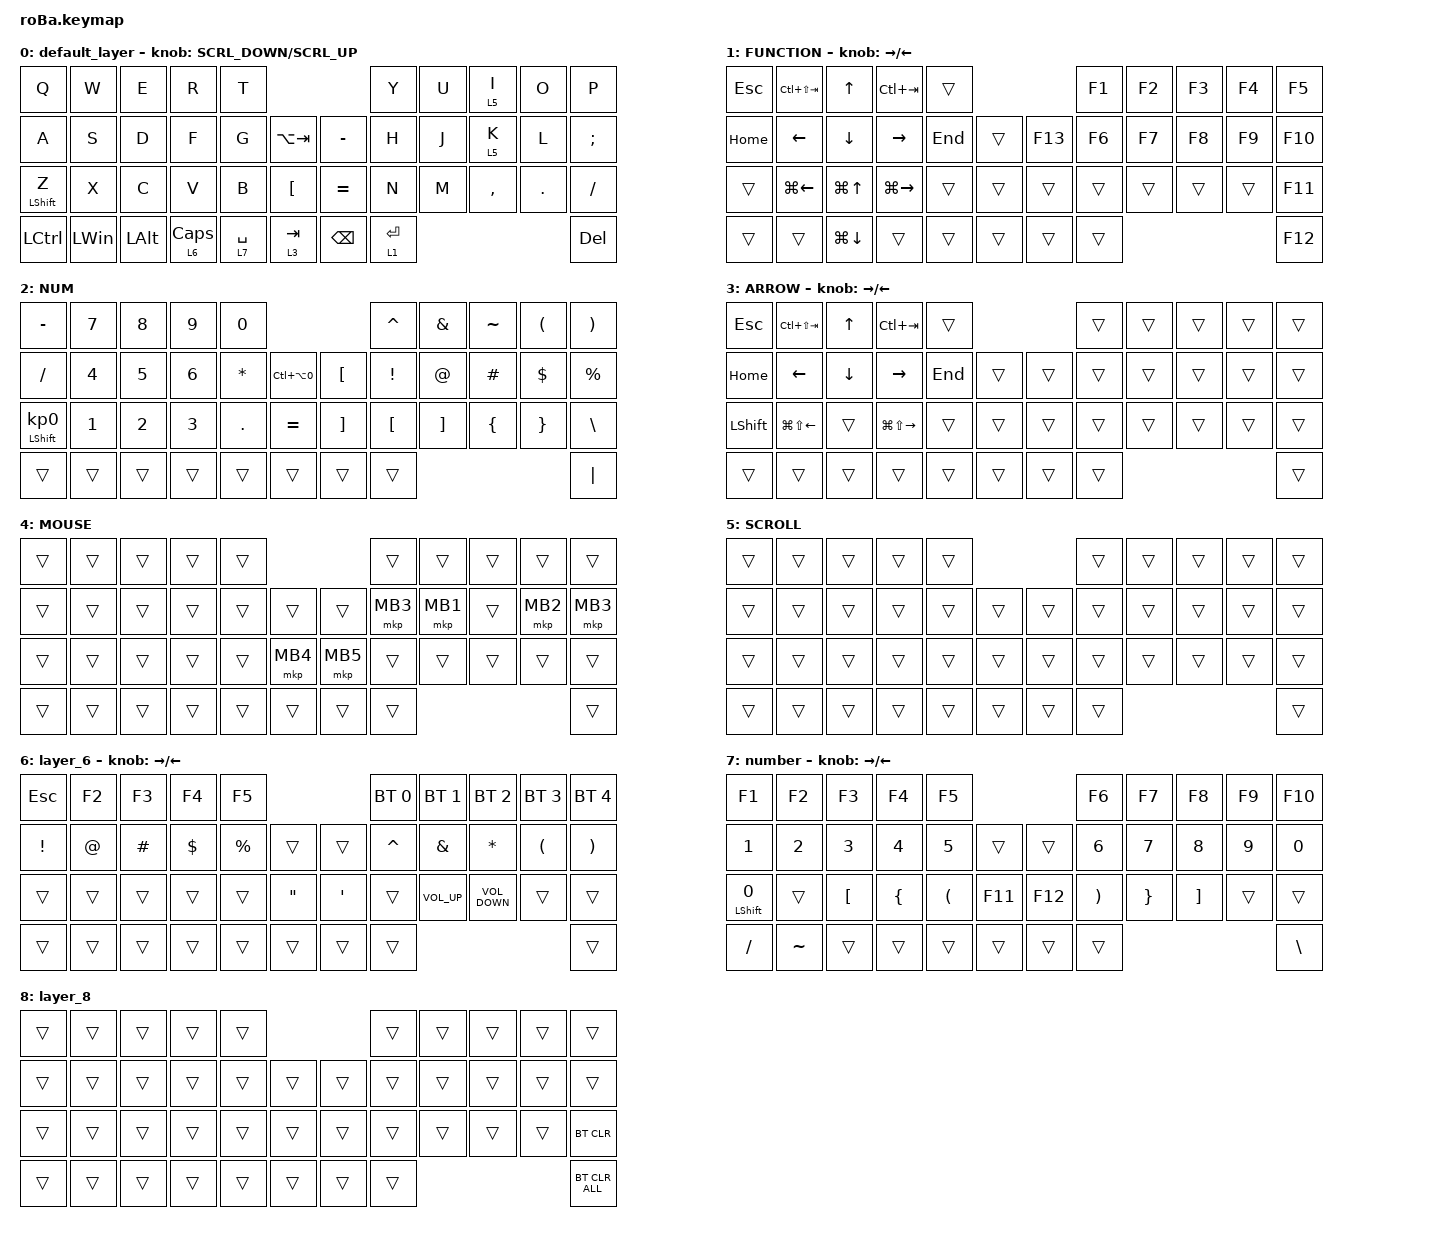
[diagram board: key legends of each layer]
#include <behaviors.dtsi>
#include <dt-bindings/zmk/bt.h>
#include <dt-bindings/zmk/keys.h>
#include <dt-bindings/zmk/pointing.h>


#define MOUSE 4
#define SCROLL 5
#define NUM 6
#define ZMK_POINTING_DEFAULT_SCRL_VAL 100

&mt {
    flavor = "balanced";
    quick-tap-ms = <0>;
};

/ {
    combos {
        compatible = "zmk,combos";

        tab {
            bindings = <&kp TAB>;
            key-positions = <11 12>;
        };

        shift_tab {
            bindings = <&kp LS(TAB)>;
            key-positions = <12 13>;
        };

        muhennkann {
            bindings = <&to_layer_0 INT_MUHENKAN>;
            key-positions = <11 10>;
        };

        double_quotation {
            bindings = <&kp DOUBLE_QUOTES>;
            key-positions = <20 21>;
        };

        eq {
            bindings = <&kp EQUAL>;
            key-positions = <24 25>;
        };

        lefr {
            bindings = <&kp LEFT_ALT>;
            key-positions = <35 36>;
        };

        left {
            bindings = <&kp LEFT_ARROW>;
            key-positions = <18 17>;
        };

        up {
            bindings = <&kp UP_ARROW>;
            key-positions = <6 7>;
        };

        right {
            bindings = <&kp RIGHT_ARROW>;
            key-positions = <20 19>;
        };

        down {
            bindings = <&kp DOWN_ARROW>;
            key-positions = <30 31>;
        };

        alr {
            bindings = <&kp LA(P)>;
            key-positions = <9 8>;
        };

        opening {
            bindings = <&pc_opening>;
            key-positions = <16 5>;
        };

        remote_combo {
            bindings = <&remote>;
            key-positions = <18 16>;
        };

        tadmin {
            bindings = <&tadmin>;
            key-positions = <28 30>;
        };

        layer-8 {
            bindings = <&lt 8 DELETE>;
            key-positions = <37 41>;
        };
    };

    macros {
        to_layer_0: to_layer_0 {
            compatible = "zmk,behavior-macro-one-param";
            #binding-cells = <1>;
            bindings = <&to 0 &macro_param_1to1 &kp MACRO_PLACEHOLDER>;
            label = "TO_LAYER_0";
        };

        remote: pass_remote {
            compatible = "zmk,behavior-macro";
            #binding-cells = <0>;
            bindings = <&kp LS(T) &kp E &kp R &kp A &kp L &kp A &kp B &kp N9 &kp N2>;
            label = "PASS_REMOTE";
        };

        pc_opening: pc {
            compatible = "zmk,behavior-macro";
            #binding-cells = <0>;
            bindings = <&kp LS(Q) &kp LS(P) &kp Q &kp P &kp N9 &kp N2>;
            label = "PC";
        };

        tadmin: tadmin {
            compatible = "zmk,behavior-macro";
            #binding-cells = <0>;
            bindings = <&kp T &kp E &kp R &kp A &kp L &kp A &kp B &kp A &kp D &kp M &kp I &kp N>;
            label = "TADMIN";
        };
    };

    behaviors {
        lt_to_layer_0: lt_to_layer_0 {
            compatible = "zmk,behavior-hold-tap";
            label = "LAYER_TAP_TO_0";
            bindings = <&mo>, <&to_layer_0>;

            #binding-cells = <2>;
            tapping-term-ms = <200>;
        };

        scroll_original: scroll_original {
            compatible = "zmk,behavior-sensor-rotate-var";
            label = "SCROLL_ORIGINAL";
            #sensor-binding-cells = <2>;
            bindings = <&msc>, <&msc>;

            tap-ms = <20>;
        };
    };

    keymap {
        compatible = "zmk,keymap";

        default_layer {
            bindings = <
&kp Q             &kp W         &kp E         &kp R           &kp T                                                 &kp Y        &kp U  &lt 5 I    &kp O    &kp P
&kp A             &kp S         &kp D         &kp F           &kp G        &kp LA(TAB)               &kp MINUS      &kp H        &kp J  &lt 5 K    &kp L    &kp SEMI
&mt LEFT_SHIFT Z  &kp X         &kp C         &kp V           &kp B        &kp LEFT_BRACKET          &kp EQUAL      &kp N        &kp M  &kp COMMA  &kp DOT  &kp SLASH
&kp LCTRL         &kp LEFT_WIN  &kp LEFT_ALT  &lt 6 CAPSLOCK  &lt 7 SPACE  &lt_to_layer_0 3 TAB      &kp BACKSPACE  &lt 1 ENTER                             &kp DEL
            >;

            sensor-bindings = <&scroll_original SCRL_DOWN SCRL_UP>;
        };

        FUNCTION {
            bindings = <
&kp ESCAPE  &kp LC(LS(TAB))     &kp UP_ARROW        &kp LC(TAB)          &trans                        &kp F1  &kp F2  &kp F3  &kp F4  &kp F5
&kp HOME    &kp LEFT_ARROW      &kp DOWN_ARROW      &kp RIGHT_ARROW      &kp END  &trans      &kp F13  &kp F6  &kp F7  &kp F8  &kp F9  &kp F10
&trans      &kp LG(LEFT_ARROW)  &kp LG(UP_ARROW)    &kp LG(RIGHT_ARROW)  &trans   &trans      &trans   &trans  &trans  &trans  &trans  &kp F11
&trans      &trans              &kp LG(DOWN_ARROW)  &trans               &trans   &trans      &trans   &trans                          &kp F12
            >;

            sensor-bindings = <&inc_dec_kp RIGHT LEFT>;
        };

        NUM {
            bindings = <
&kp MINUS                   &kp NUMBER_7  &kp NUMBER_8  &kp NUMBER_9  &kp NUMBER_0                                               &kp CARET         &kp AMPERSAND      &kp TILDE       &kp LEFT_PARENTHESIS  &kp RIGHT_PARENTHESIS
&kp SLASH                   &kp NUMBER_4  &kp NUMBER_5  &kp NUMBER_6  &kp ASTERISK  &kp LC(LA(NUMBER_0))      &kp LEFT_BRACKET   &kp EXCLAMATION   &kp AT_SIGN        &kp HASH        &kp DOLLAR            &kp PERCENT
&mt LEFT_SHIFT KP_NUMBER_0  &kp NUMBER_1  &kp NUMBER_2  &kp NUMBER_3  &kp PERIOD    &kp EQUAL                 &kp RIGHT_BRACKET  &kp LEFT_BRACKET  &kp RIGHT_BRACKET  &kp LEFT_BRACE  &kp RIGHT_BRACE       &kp BACKSLASH
&trans                      &trans        &trans        &trans        &trans        &trans                    &trans             &trans                                                                     &kp PIPE
            >;
        };

        ARROW {
            bindings = <
&kp ESCAPE      &kp LC(LS(TAB))         &kp UP_ARROW    &kp LC(TAB)              &trans                       &trans  &trans  &trans  &trans  &trans
&kp HOME        &kp LEFT_ARROW          &kp DOWN_ARROW  &kp RIGHT_ARROW          &kp END  &trans      &trans  &trans  &trans  &trans  &trans  &trans
&kp LEFT_SHIFT  &kp LG(LS(LEFT_ARROW))  &trans          &kp LG(LS(RIGHT_ARROW))  &trans   &trans      &trans  &trans  &trans  &trans  &trans  &trans
&trans          &trans                  &trans          &trans                   &trans   &trans      &trans  &trans                          &trans
            >;

            sensor-bindings = <&inc_dec_kp RIGHT LEFT>;
        };

        MOUSE {
            bindings = <
&trans  &trans  &trans  &trans  &trans                          &trans    &trans    &trans  &trans    &trans
&trans  &trans  &trans  &trans  &trans  &trans        &trans    &mkp MB3  &mkp MB1  &trans  &mkp MB2  &mkp MB3
&trans  &trans  &trans  &trans  &trans  &mkp MB4      &mkp MB5  &trans    &trans    &trans  &trans    &trans
&trans  &trans  &trans  &trans  &trans  &trans        &trans    &trans                                &trans
            >;
        };

        SCROLL {
            bindings = <
&trans  &trans  &trans  &trans  &trans                      &trans  &trans  &trans  &trans  &trans
&trans  &trans  &trans  &trans  &trans  &trans      &trans  &trans  &trans  &trans  &trans  &trans
&trans  &trans  &trans  &trans  &trans  &trans      &trans  &trans  &trans  &trans  &trans  &trans
&trans  &trans  &trans  &trans  &trans  &trans      &trans  &trans                          &trans
            >;
        };

        layer_6 {
            bindings = <
&kp ESC          &kp F2  &kp F3     &kp F4    &kp F5                                  &bt BT_SEL 0  &bt BT_SEL 1     &bt BT_SEL 2       &bt BT_SEL 3  &bt BT_SEL 4
&kp EXCLAMATION  &kp AT  &kp POUND  &kp DLLR  &kp PRCNT  &trans       &trans          &kp CARET     &kp AMPS         &kp ASTRK          &kp LPAR      &kp RPAR
&trans           &trans  &trans     &trans    &trans     &kp DQT      &kp APOSTROPHE  &trans        &kp C_VOLUME_UP  &kp C_VOLUME_DOWN  &trans        &trans
&trans           &trans  &trans     &trans    &trans     &trans       &trans          &trans                                                          &trans
            >;

            sensor-bindings = <&inc_dec_kp RIGHT LEFT>;
        };

        num2 {
            bindings = <
&kp F1                   &kp F2        &kp F3            &kp F4          &kp F5                                      &kp F6                 &kp F7           &kp F8             &kp F9        &kp F10
&kp N1                   &kp NUMBER_2  &kp NUMBER_3      &kp NUMBER_4    &kp N5                &trans       &trans   &kp NUMBER_6           &kp NUMBER_7     &kp NUMBER_8       &kp NUMBER_9  &kp NUMBER_0
&mt LEFT_SHIFT NUMBER_0  &trans        &kp LEFT_BRACKET  &kp LEFT_BRACE  &kp LEFT_PARENTHESIS  &kp F11      &kp F12  &kp RIGHT_PARENTHESIS  &kp RIGHT_BRACE  &kp RIGHT_BRACKET  &trans        &trans
&kp SLASH                &kp TILDE     &trans            &trans          &trans                &trans       &trans   &trans                                                                   &kp BACKSLASH
            >;

            label = "number";
            sensor-bindings = <&inc_dec_kp RIGHT LEFT>;
        };

        layer_8 {
            bindings = <
&trans  &trans  &trans  &trans  &trans                      &trans  &trans  &trans  &trans  &trans
&trans  &trans  &trans  &trans  &trans  &trans      &trans  &trans  &trans  &trans  &trans  &trans
&trans  &trans  &trans  &trans  &trans  &trans      &trans  &trans  &trans  &trans  &trans  &bt BT_CLR
&trans  &trans  &trans  &trans  &trans  &trans      &trans  &trans                          &bt BT_CLR_ALL
            >;
        };
    };
};
